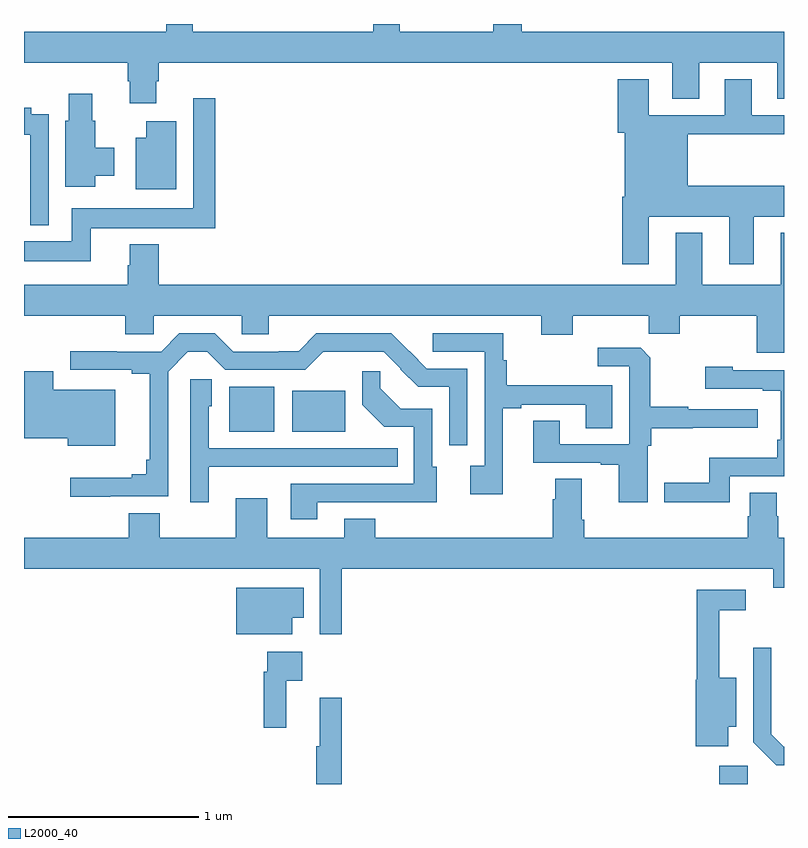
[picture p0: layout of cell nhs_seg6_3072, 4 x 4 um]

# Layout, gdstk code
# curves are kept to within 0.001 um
import gdstk
lib = gdstk.Library(unit=1e-6, precision=1e-09)
def R(c, l, rs):  # rectangles x0, y0, x1, y1
    for r in rs: c.add(gdstk.rectangle(r[:2], r[2:], *l))
def P(c, l, *ps):  # polygons
    for p in ps: c.add(gdstk.Polygon(p, *l))
L2000_40 = (2000, 40)

nhs_seg6_3072 = lib.new_cell('nhs_seg6_3072')
R(nhs_seg6_3072, L2000_40, [(294.659,983.5,294.81,983.596), (292.079,985.355,292.318,985.591), (292.412,985.355,292.69,985.57)])
P(nhs_seg6_3072, L2000_40, [(291.697,987.198),(291.71,987.198),(291.71,987.296),(294.413,987.296),(294.413,987.106),(294.553,987.106),(294.553,987.296),(294.965,987.296),(294.965,987.106),(295,987.106),(295,987.46),(293.619,987.46),(293.619,987.5),(293.471,987.5),(293.471,987.46),(292.978,987.46),(292.978,987.5),(292.839,987.5),(292.839,987.46),(291.889,987.46),(291.889,987.5),(291.749,987.5),(291.749,987.46),(291,987.46),(291,987.296),(291.545,987.296),(291.545,987.198),(291.557,987.198),(291.557,987.084),(291.697,987.084)],
  [(294.289,986.486),(294.713,986.486),(294.713,986.235),(294.841,986.235),(294.841,986.486),(295,986.486),(295,986.65),(294.493,986.65),(294.493,986.92),(295,986.92),(295,987.021),(294.829,987.021),(294.829,987.208),(294.689,987.208),(294.689,987.021),(294.289,987.021),(294.289,987.208),(294.125,987.208),(294.125,986.928),(294.161,986.928),(294.161,986.59),(294.149,986.59),(294.149,986.235),(294.289,986.235)],
  [(291.376,986.702),(291.475,986.702),(291.475,986.85),(291.376,986.85),(291.376,986.991),(291.358,986.991),(291.358,987.133),(291.236,987.133),(291.236,986.991),(291.218,986.991),(291.218,986.643),(291.376,986.643)],
  [(291.35,986.426),(291.884,986.426),(291.884,986.424),(292.007,986.424),(292.007,987.109),(291.891,987.109),(291.891,986.53),(291.252,986.53),(291.252,986.356),(291,986.356),(291,986.252),(291.35,986.252)],
  [(291.129,987.025),(291.037,987.025),(291.037,987.058),(291,987.058),(291,986.918),(291.033,986.918),(291.033,986.441),(291.129,986.441)],
  [(291.802,986.989),(291.644,986.989),(291.644,986.902),(291.587,986.902),(291.587,986.63),(291.802,986.63)],
  [(295,986.401),(294.983,986.401),(294.983,986.128),(294.571,986.128),(294.571,986.401),(294.431,986.401),(294.431,986.128),(291.71,986.128),(291.71,986.341),(291.557,986.341),(291.557,986.229),(291.545,986.229),(291.545,986.128),(291,986.128),(291,985.964),(291.533,985.964),(291.533,985.866),(291.684,985.866),(291.684,985.964),(292.146,985.964),(292.146,985.866),(292.288,985.866),(292.288,985.964),(293.723,985.964),(293.723,985.865),(293.887,985.865),(293.887,985.964),(294.287,985.964),(294.287,985.871),(294.451,985.871),(294.451,985.964),(294.857,985.964),(294.857,985.77),(295,985.77)],
  [(293.521,985.477),(293.617,985.477),(293.617,985.497),(293.957,985.497),(293.957,985.372),(294.097,985.372),(294.097,985.598),(293.54,985.598),(293.54,985.73),(293.522,985.73),(293.522,985.872),(293.151,985.872),(293.151,985.776),(293.424,985.776),(293.424,985.174),(293.349,985.174),(293.349,985.026),(293.521,985.026)],
  [(291.455,985.014),(291.759,985.014),(291.759,985.671),(291.863,985.775),(291.964,985.775),(292.059,985.68),(292.479,985.68),(292.574,985.775),(292.893,985.776),(292.983,985.686),(292.981,985.684),(293.075,985.59),(293.238,985.59),(293.238,985.284),(293.334,985.284),(293.334,985.686),(293.121,985.686),(292.933,985.872),(292.539,985.872),(292.445,985.778),(292.34,985.778),(292.34,985.776),(292.101,985.776),(292.005,985.872),(291.818,985.872),(291.722,985.776),(291.489,985.776),(291.489,985.778),(291.243,985.778),(291.243,985.68),(291.566,985.68),(291.566,985.66),(291.662,985.66),(291.662,985.207),(291.643,985.207),(291.643,985.13),(291.566,985.13),(291.566,985.111),(291.243,985.111),(291.243,985.013)],
  [(294.282,985.28),(294.302,985.28),(294.302,985.372),(294.521,985.372),(294.521,985.376),(294.862,985.376),(294.862,985.473),(294.497,985.473),(294.497,985.486),(294.297,985.486),(294.297,985.743),(294.245,985.795),(294.021,985.795),(294.021,985.698),(294.186,985.698),(294.186,985.287),(293.821,985.287),(293.821,985.412),(293.681,985.412),(293.681,985.191),(294.035,985.191),(294.035,985.179),(294.131,985.179),(294.131,984.984),(294.282,984.984)],
  [(294.714,985.119),(295,985.119),(295,985.677),(294.729,985.677),(294.729,985.696),(294.585,985.696),(294.585,985.581),(294.887,985.581),(294.887,985.569),(294.984,985.569),(294.984,985.312),(294.964,985.312),(294.964,985.216),(294.606,985.216),(294.606,985.085),(294.369,985.085),(294.369,984.983),(294.714,984.983)],
  [(291.481,985.576),(291.154,985.576),(291.154,985.672),(291,985.672),(291,985.319),(291.23,985.319),(291.23,985.28),(291.481,985.28)],
  [(292.543,984.984),(293.173,984.983),(293.173,985.17),(293.148,985.17),(293.148,985.476),(292.982,985.476),(292.874,985.584),(292.874,985.672),(292.779,985.672),(292.779,985.496),(292.895,985.38),(293.052,985.38),(293.052,985.08),(292.403,985.08),(292.403,984.894),(292.543,984.894)],
  [(291.973,985.169),(292.307,985.169),(292.307,985.17),(292.967,985.17),(292.967,985.266),(291.972,985.266),(291.972,985.488),(291.988,985.488),(291.988,985.631),(291.876,985.631),(291.876,984.984),(291.973,984.984)],
  [(292.557,984.288),(292.673,984.288),(292.673,984.632),(294.944,984.632),(294.944,984.534),(295,984.534),(295,984.796),(294.969,984.796),(294.969,984.909),(294.961,984.909),(294.961,985.034),(294.821,985.034),(294.821,984.909),(294.809,984.909),(294.809,984.796),(293.948,984.796),(293.948,984.892),(293.935,984.892),(293.935,985.106),(293.795,985.106),(293.795,984.998),(293.783,984.998),(293.783,984.796),(292.849,984.796),(292.849,984.895),(292.685,984.895),(292.685,984.796),(292.279,984.796),(292.279,985.003),(292.115,985.003),(292.115,984.796),(291.715,984.796),(291.715,984.925),(291.551,984.925),(291.551,984.796),(291,984.796),(291,984.632),(292.557,984.632)],
  [(292.411,984.374),(292.472,984.374),(292.472,984.532),(292.118,984.532),(292.118,984.287),(292.411,984.287)],
  [(294.706,983.801),(294.748,983.801),(294.748,984.058),(294.659,984.058),(294.659,984.414),(294.799,984.414),(294.799,984.522),(294.541,984.522),(294.541,984.048),(294.536,984.048),(294.536,983.7),(294.706,983.7)],
  [(295,983.697),(294.999,983.697),(294.933,983.763),(294.933,984.217),(294.837,984.217),(294.837,983.721),(294.958,983.6),(295,983.6)],
  [(292.379,984.044),(292.465,984.044),(292.465,984.196),(292.281,984.196),(292.281,984.092),(292.261,984.092),(292.261,983.796),(292.379,983.796)],
  [(292.673,983.953),(292.556,983.953),(292.556,983.7),(292.537,983.7),(292.537,983.5),(292.673,983.5)])

lib.write_gds('nhs_seg6_3072.gds')
